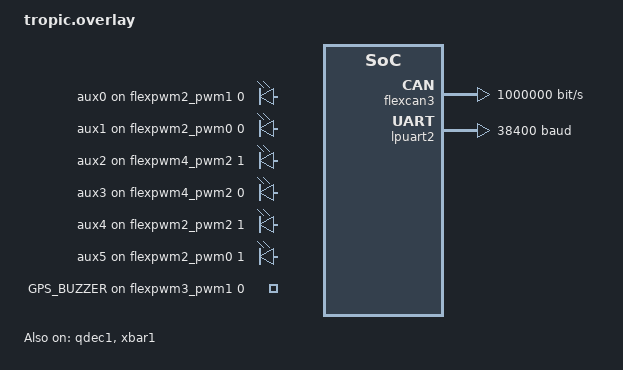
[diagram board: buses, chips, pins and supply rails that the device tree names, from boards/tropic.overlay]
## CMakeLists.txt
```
#-------------------------------------------------------------------------------
# Zephyr Cerebri Application
#
# Copyright (c) 2023 CogniPilot Foundation
# SPDX-License-Identifier: Apache-2.0

cmake_minimum_required(VERSION 3.13.1)

find_package(Zephyr REQUIRED HINTS $ENV{ZEPHYR_BASE})

project(rdd2 LANGUAGES C)

set(CYECCA_PYTHON ${CMAKE_CURRENT_SOURCE_DIR}/../../scripts/cyecca_python)

set(CYECCA_PATH $ENV{ZEPHYR_BASE}/../modules/lib/cyecca)

set(flags
  -std=c11
  -Wall
  -Wextra
  -Werror
  -Wstrict-prototypes
  -Waggregate-return
  -Wbad-function-cast
  -Wcast-align
  -Wcast-qual
  -Wfloat-equal
  -Wformat-security
  -Wlogical-op
  -Wmissing-declarations
  # ubxlib includes geographiclib which dir doesn't exist
  #-Wmissing-include-dirs
  -Wmissing-prototypes
  -Wnested-externs
  -Wpointer-arith
  -Wredundant-decls
  -Wsequence-point
  -Wshadow
  -Wstrict-prototypes
  -Wswitch
  -Wundef
  -Wunreachable-code
  -Wunused-but-set-parameter
  -Wwrite-strings
  )
string(JOIN " " flags ${flags})

set(SOURCE_FILES
  src/boot_banner.c
  src/input_mapping.c
  )

if (CONFIG_CEREBRI_RDD2_FSM)
  list(APPEND SOURCE_FILES src/fsm.c)
endif()

if (CONFIG_CEREBRI_RDD2_ESTIMATE)
  list(APPEND SOURCE_FILES src/estimate.c)
endif()

if (CONFIG_CEREBRI_RDD2_ALLOCATION)
  list(APPEND SOURCE_FILES src/allocation.c)
endif()

if (CONFIG_CEREBRI_RDD2_LIGHTING)
  list(APPEND SOURCE_FILES src/lighting.c)
endif()

if (CONFIG_CEREBRI_RDD2_COMMAND)
  list(APPEND SOURCE_FILES
    src/command.c
    src/mode_bezier.c
    src/mode_velocity.c
    src/mode_attitude.c
    src/mode_attitude_rate.c)
endif()

if (CONFIG_CEREBRI_RDD2_POSITION)
  list(APPEND SOURCE_FILES
    src/position.c)
elseif (CONFIG_CEREBRI_RDD2_LOG_LINEAR_POSITION)
  list(APPEND SOURCE_FILES
    src/log_linear_position.c)
endif()

if (CONFIG_CEREBRI_RDD2_ANGULAR_VELOCITY)
  list(APPEND SOURCE_FILES
    src/angular_velocity.c)
endif()

if (CONFIG_CEREBRI_RDD2_ATTITUDE)
  list(APPEND SOURCE_FILES
    src/attitude.c)
elseif (CONFIG_CEREBRI_RDD2_LOG_LINEAR_ATTITUDE)
  list(APPEND SOURCE_FILES
    src/log_linear_attitude.c)
endif()

set(CASADI_DEST_DIR ${CMAKE_BINARY_DIR}/app/rdd2/casadi)

set(CASADI_FILES
  ${CASADI_DEST_DIR}/rdd2.c
  ${CASADI_DEST_DIR}/rdd2_loglinear.c
  ${CASADI_DEST_DIR}/bezier.c
  )

if (CONFIG_CEREBRI_RDD2_CASADI)
  list(APPEND SOURCE_FILES ${CASADI_FILES})
endif()

add_custom_command(OUTPUT ${CASADI_DEST_DIR}/rdd2.c
  COMMAND ${CYECCA_PYTHON} ${CYECCA_PATH}/cyecca/models/rdd2.py ${CASADI_DEST_DIR}
  DEPENDS ${CYECCA_PATH}/cyecca/models/rdd2.py)

add_custom_command(OUTPUT ${CASADI_DEST_DIR}/rdd2_loglinear.c
  COMMAND ${CYECCA_PYTHON} ${CYECCA_PATH}/cyecca/models/rdd2_loglinear.py ${CASADI_DEST_DIR}
  DEPENDS ${CYECCA_PATH}/cyecca/models/rdd2_loglinear.py)

add_custom_command(OUTPUT ${CASADI_DEST_DIR}/bezier.c
  COMMAND ${CYECCA_PYTHON} ${CYECCA_PATH}/cyecca/models/bezier.py ${CASADI_DEST_DIR}
  DEPENDS ${CYECCA_PATH}/cyecca/models/bezier.py)

set_source_files_properties(
  ${SOURCE_FILES}
  PROPERTIES COMPILE_FLAGS
  "${flags}"
  )

set_source_files_properties(
  ${CASADI_FILES}
  PROPERTIES COMPILE_FLAGS
  "${flags}\
  -Wno-unused-parameter\
  -Wno-missing-prototypes\
  -Wno-missing-declarations\
  -Wno-float-equal")

target_sources(app PRIVATE ${SOURCE_FILES})

target_include_directories(app SYSTEM BEFORE PRIVATE
  ${ZEPHYR_BASE}/include
  ${CMAKE_BINARY_DIR}
  )

# vi: ts=2 sw=2 et
```

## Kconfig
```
# Copyright (c) 2023, CogniPilot Foundation
# SPDX-License-Identifier: Apache-2.0

mainmenu "CogniPilot - Cerebri - RDD2"
menu "Zephyr"
source "Kconfig.zephyr"
endmenu

menu "RDD2"
config CEREBRI_RDD2_ESTIMATE
  bool "enable estimate"
  depends on CEREBRI_RDD2_CASADI
  help
    Enable estimator

config CEREBRI_RDD2_FSM
  bool "enable finite state machine"
  help
    Enable fintie state machine

config CEREBRI_RDD2_LIGHTING
  bool "enable lighting"
  help
    Enable lighting

config CEREBRI_RDD2_COMMAND
  bool "enable command"
  depends on CEREBRI_RDD2_ALLOCATION
  help
    Enable joy

config CEREBRI_RDD2_ALLOCATION
  bool "enable mixing"
  help
    Enable mixing

config CEREBRI_RDD2_POSITION
  bool "enable position"
  depends on CEREBRI_RDD2_CASADI
  help
    Enable position

config CEREBRI_RDD2_ANGULAR_VELOCITY
  bool "enable velocity"
  depends on CEREBRI_RDD2_ALLOCATION
  depends on CEREBRI_RDD2_CASADI
  help
    Enable velocity

config CEREBRI_RDD2_ATTITUDE
  bool "enable attitude"
  depends on CEREBRI_RDD2_ANGULAR_VELOCITY
  depends on CEREBRI_RDD2_CASADI
  help
    Enable attitude

config CEREBRI_RDD2_CASADI
  bool "enable casadi code"
  help
    Enable Casadi generated code

config CEREBRI_RDD2_ESTIMATE_ODOMETRY_ETHERNET
  bool "fuse odometry from ethernet"
  depends on CEREBRI_RDD2_ESTIMATE
  help
    Enable odometry from ethernet

config CEREBRI_RDD2_BATTERY_NCELLS
  int "number of cells in battery"
  default 4
  help
    Number of cells in battery

config CEREBRI_RDD2_BATTERY_CELL_MIN_MILLIVOLT
  int "millivolts per cell before shutdown"
  default 3300
  help
    millivolts per cell before shutdown

config CEREBRI_RDD2_BATTERY_CELL_LOW_MILLIVOLT
  int "millivolts per cell before warning"
  default 3500
  help
    millivolts per cell before warning

config CEREBRI_RDD2_BATTERY_CELL_NOM_MILLIVOLT
  int "nominal millivolts per cell"
  default 3700
  help
    nominal millivolts per cell

config CEREBRI_RDD2_BATTERY_CELL_MAX_MILLIVOLT
  int "max millivolts per cell before warning"
  default 4300
  help
    max millivolts per cell before warning

config CEREBRI_RDD2_GAIN_HEADING
  int "heading gain"
  default 100
  help
    Steering = Heading error * GAIN_/ 1000

config CEREBRI_RDD2_GAIN_CROSS_TRACK
  int "cross track gain"
  default 100
  help
    Steering = Cross track error * GAIN / 1000

config CEREBRI_RDD2_GAIN_ALONG_TRACK
  int "along track gain"
  default 100
  help
    Steering = Along track error * GAIN / 1000

config CEREBRI_RDD2_MAX_VELOCITY_MM_S
  int "max velocity, mm/s"
  default 1000
  help
    Max velocity in mm/s

config CEREBRI_RDD2_MOTOR_L_MM
  int "moment arm for props"
  default 174
  help
    moment arm for props

config CEREBRI_RDD2_MOTOR_CM
  int "motor moment coefficient * 1e6"
  default 16000
  help
    moment arm for props

config CEREBRI_RDD2_MOTOR_CT
  int "motor thrust coefficient * 1e9"
  default 8549
  help
    moment thrust coefficient * 1e9

config CEREBRI_RDD2_POS_KP
  int "pos kp * 1e6"
  default 2000000
  help
    pos kp * 1e6

config CEREBRI_RDD2_VEL_KP
  int "vel kp * 1e6"
  default 2000000
  help
    vel kp * 1e6

config CEREBRI_RDD2_X_KI
  int "x ki * 1e6"
  default 100000
  help
    x ki * 1e6

config CEREBRI_RDD2_Y_KI
  int "y ki * 1e6"
  default 100000
  help
    y ki * 1e6

config CEREBRI_RDD2_Z_KI
  int "z ki * 1e6"
  default 100000
  help
    z ki * 1e6

config CEREBRI_RDD2_X_IMAX
  int "x imax * 1e6"
  default 250000
  help
    x ki * 1e6

config CEREBRI_RDD2_Y_IMAX
  int "y imax * 1e6"
  default 250000
  help
    y ki * 1e6

config CEREBRI_RDD2_Z_IMAX
  int "z imax * 1e6"
  default 250000
  help
    z imax * 1e6

config CEREBRI_RDD2_ROLL_KP
  int "roll kp * 1e6"
  default 2000000
  help
    roll kp * 1e6

config CEREBRI_RDD2_PITCH_KP
  int "pitch kp * 1e6"
  default 2000000
  help
    pitch kp * 1e6

config CEREBRI_RDD2_YAW_KP
  int "yaw kp * 1e6"
  default 1000000
  help
    yaw kp * 1e6

config CEREBRI_RDD2_ROLLRATE_KP
  int "rollrate kp * 1e6"
  default 300000
  help
    rollrate kp * 1e6

config CEREBRI_RDD2_PITCHRATE_KP
  int "pitchrate kp * 1e6"
  default 300000
  help
    pitchrate kp * 1e6

config CEREBRI_RDD2_YAWRATE_KP
  int "yawrate kp * 1e6"
  default 300000
  help
    yawrate kp * 1e6

config CEREBRI_RDD2_ROLLRATE_KI
  int "rollrate ki * 1e6"
  default 50000
  help
    rollrate ki * 1e6

config CEREBRI_RDD2_PITCHRATE_KI
  int "pitchrate ki * 1e6"
  default 50000
  help
    pitchrate ki * 1e6

config CEREBRI_RDD2_YAWRATE_KI
  int "yawrate ki * 1e6"
  default 50000
  help
    yawrate ki * 1e6

config CEREBRI_RDD2_ROLLRATE_KD
  int "rollrate kd * 1e6"
  default 0
  help
    rollrate kd * 1e6

config CEREBRI_RDD2_PITCHRATE_KD
  int "pitchrate kd * 1e6"
  default 0
  help
    pitchrate kd * 1e6

config CEREBRI_RDD2_YAWRATE_KD
  int "yawrate kd * 1e6"
  default 0
  help
    yawrate kd * 1e6

config CEREBRI_RDD2_ATTITUDE_RATE_FCUT
  int "fcut [hz] * 1e3"
  default 20000
  help
    attitude_rate cut frequency * 1e3

config CEREBRI_RDD2_ROLLRATE_IMAX
  int "rollrate imax * 1e6"
  default 20000
  help
    rollrate imax * 1e6

config CEREBRI_RDD2_PITCHRATE_IMAX
  int "pitchate imax * 1e6"
  default 20000
  help
    pitchrate imax * 1e6

config CEREBRI_RDD2_YAWRATE_IMAX
  int "yawrate imax * 1e6"
  default 20000
  help
    yawrate imax * 1e6

config CEREBRI_RDD2_THRUST_TRIM
  int "thrust_trim * 1e3 [N}"
  default 21952
  help
    thrust trim * 1e3 [N]

config CEREBRI_RDD2_THRUST_DELTA
  int "thrust delta* 1e3 [N}"
  default 19756
  help
    thrust delta imax * 1e3 [N}

config CEREBRI_RDD2_LOG_LINEAR_ATTITUDE
  bool "enable loglinear attitude control"
  help
    Enable loglinear atitude control

config CEREBRI_RDD2_LOG_LINEAR_POSITION
  bool "enable loglinear position control"
  help
    Enable loglinear atitude position

config CEREBRI_RDD2_ATTITUDE_EST_ACCEL_GAIN
  int "attitude rate accel gain"
  default 40
  help
    attitude rate accel gain

config CEREBRI_RDD2_ATTITUDE_EST_MAG_GAIN
  int "attitude rate mag gain"
  default 40
  help
    attitude rate mag gain


module = CEREBRI_RDD2
module-str = cerebri_rdd2
source "subsys/logging/Kconfig.template.log_config"
endmenu
```

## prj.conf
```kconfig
CONFIG_CEREBRI_APP_NAME="rdd2"

CONFIG_SYS_CLOCK_TICKS_PER_SEC=10000
CONFIG_TICKLESS_KERNEL=n

CONFIG_CEREBRI_DREAM_SIL=n

CONFIG_CEREBRI_RDD2_ESTIMATE=y
CONFIG_CEREBRI_RDD2_FSM=y
CONFIG_CEREBRI_RDD2_MANUAL=y
CONFIG_CEREBRI_RDD2_ALLOCATION=y
CONFIG_CEREBRI_RDD2_POSITION=y
CONFIG_CEREBRI_RDD2_ANGULAR_VELOCITY=y
CONFIG_CEREBRI_RDD2_ATTITUDE=y
CONFIG_CEREBRI_RDD2_LIGHTING=n
CONFIG_CEREBRI_RDD2_CASADI=y
CONFIG_CEREBRI_ACTUATE_LED_ARRAY_COUNT=36

CONFIG_CEREBRI_ACTUATE_PWM=y
CONFIG_CEREBRI_ACTUATE_LED_ARRAY=y
CONFIG_CEREBRI_ACTUATE_SOUND=n

CONFIG_NET_BUF_RX_COUNT=24
CONFIG_NET_PKT_RX_COUNT=24

CONFIG_CEREBRI_SENSE_POWER=y
CONFIG_CEREBRI_SENSE_SAFETY=y
CONFIG_CEREBRI_SENSE_IMU=y
CONFIG_CEREBRI_SENSE_MAG=y
CONFIG_CEREBRI_SENSE_UBX_GNSS=y

CONFIG_CEREBRI_SYNAPSE_ETH_RX=y
CONFIG_CEREBRI_SYNAPSE_ETH_TX=y
CONFIG_CEREBRI_SYNAPSE_ETHERNET=n

CONFIG_CEREBRI_SYNAPSE_TOPIC=y
CONFIG_CEREBRI_CORE_COMMON=y
CONFIG_CEREBRI_CORE_COMMON_BOOT_BANNER=n
CONFIG_ZROS=y

CONFIG_SHELL_STACK_SIZE=10240
CONFIG_INIT_STACKS=y

CONFIG_LOG=y
CONFIG_LOG_CMDS=y
CONFIG_LOG_MODE_DEFERRED=n

CONFIG_ASSERT=y
CONFIG_TEST=y
CONFIG_CBPRINTF_FP_SUPPORT=y

# modules
CONFIG_SYNAPSE_PROTOBUF=y
CONFIG_SYNAPSE_TINYFRAME=y
CONFIG_NANOPB=y
CONFIG_UBXLIB=y

# Debug
CONFIG_CEREBRI_RDD2_LOG_LEVEL_DBG=n
CONFIG_CEREBRI_SENSE_IMU_LOG_LEVEL_DBG=n
CONFIG_CEREBRI_SENSE_SAFETY_LOG_LEVEL_DBG=n

# General config
CONFIG_POSIX_API=y
CONFIG_NEWLIB_LIBC=y
CONFIG_MAIN_THREAD_PRIORITY=5
CONFIG_SYSTEM_WORKQUEUE_PRIORITY=-2
CONFIG_SYS_CLOCK_TICKS_PER_SEC=10000
# Networking config
CONFIG_NET_SHELL=y
CONFIG_NETWORKING=y
CONFIG_NET_IPV4=y
CONFIG_NET_IPV6=n
CONFIG_NET_TCP=y
CONFIG_NET_SOCKETS=y

# Network address config
CONFIG_NET_CONFIG_SETTINGS=y
CONFIG_NET_STATISTICS=y
CONFIG_NET_MGMT_EVENT_INFO=y
CONFIG_NET_MGMT_EVENT_MONITOR=y
CONFIG_NET_BUF_POOL_USAGE=y
CONFIG_NET_DEBUG_NET_PKT_ALLOC=y
CONFIG_NET_CONFIG_NEED_IPV4=y
CONFIG_NET_CONFIG_MY_IPV4_ADDR="192.0.2.1"
CONFIG_NET_CONFIG_PEER_IPV4_ADDR="192.0.2.2"

# STATS
CONFIG_THREAD_RUNTIME_STATS=y
CONFIG_SCHED_THREAD_USAGE=y
CONFIG_SCHED_THREAD_USAGE_ANALYSIS=y
CONFIG_SCHED_THREAD_USAGE_ALL=y
CONFIG_SCHED_THREAD_USAGE_AUTO_ENABLE=y
```

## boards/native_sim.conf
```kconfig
# gains
CONFIG_CEREBRI_RDD2_THRUST_TRIM=21952
CONFIG_CEREBRI_RDD2_THRUST_DELTA=19756

CONFIG_CEREBRI_RDD2_ESTIMATE_ODOMETRY_ETHERNET=y

CONFIG_CEREBRI_RDD2_ROLL_KP=2000
CONFIG_CEREBRI_RDD2_PITCH_KP=2000
CONFIG_CEREBRI_RDD2_YAW_KP=1000

CONFIG_CEREBRI_RDD2_ROLLRATE_KP=300
CONFIG_CEREBRI_RDD2_PITCHRATE_KP=300
CONFIG_CEREBRI_RDD2_YAWRATE_KP=300

CONFIG_CEREBRI_RDD2_ROLLRATE_KI=50
CONFIG_CEREBRI_RDD2_PITCHRATE_KI=50
CONFIG_CEREBRI_RDD2_YAWRATE_KI=50

CONFIG_CEREBRI_RDD2_ROLLRATE_IMAX=20
CONFIG_CEREBRI_RDD2_PITCHRATE_IMAX=20
CONFIG_CEREBRI_RDD2_YAWRATE_IMAX=20

# config
CONFIG_ETH_NATIVE_POSIX=y
CONFIG_TEST_RANDOM_GENERATOR=y
CONFIG_SYS_CLOCK_TICKS_PER_SEC=500
CONFIG_NATIVE_POSIX_SLOWDOWN_TO_REAL_TIME=n

CONFIG_NO_OPTIMIZATIONS=y
CONFIG_UART_NATIVE_POSIX=y

CONFIG_REBOOT=n
CONFIG_LOG_BACKEND_NATIVE_POSIX=y
CONFIG_LOG_MODE_DEFERRED=n
CONFIG_LOG_MODE_IMMEDIATE=y

CONFIG_NATIVE_UART_0_ON_OWN_PTY=y
CONFIG_NATIVE_UART_0_ON_STDINOUT=n
CONFIG_NATIVE_UART_AUTOATTACH_DEFAULT_CMD="xterm -fa Monospcae -fs 12 -fg grey -bg black -T cerebri-shell -e screen %s &"

CONFIG_CEREBRI_BOOT_BANNER=n
CONFIG_CEREBRI_DREAM_SIL=y
CONFIG_UBXLIB=n

CONFIG_TEST=y
CONFIG_ASAN=y
CONFIG_UBSAN=n
CONFIG_ASSERT=y
CONFIG_ASSERT_LEVEL=2
CONFIG_ASSERT_VERBOSE=y

CONFIG_CEREBRI_ACTUATE_LED_ARRAY=n
CONFIG_CEREBRI_ACTUATE_SOUND=n
CONFIG_CEREBRI_ACTUATE_PWM=n
CONFIG_CEREBRI_SENSE_POWER=n
CONFIG_CEREBRI_SENSE_SBUS=n
CONFIG_CEREBRI_SENSE_IMU=n
CONFIG_CEREBRI_SENSE_BARO=n
CONFIG_CEREBRI_SENSE_MAG=n
CONFIG_CEREBRI_SENSE_UBX_GNSS=n
CONFIG_CEREBRI_SENSE_SAFETY=n
CONFIG_CEREBRI_SENSE_WHEEL_ODOMETRY=n

CONFIG_CEREBRI_DREAM_SIL_LOG_LEVEL_DBG=n

CONFIG_NEWLIB_LIBC=n
CONFIG_EXTERNAL_LIBC=y
CONFIG_POSIX_API=n
```

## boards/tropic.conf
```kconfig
CONFIG_ENTROPY_GENERATOR=y
CONFIG_TEST_RANDOM_GENERATOR=y

CONFIG_CEREBRI_ACTUATE_PWM_NUMBER=2
CONFIG_LED_STRIP=y
CONFIG_APA102_STRIP=y

CONFIG_ETH_NXP_S32_RX_RING_LEN=16

# steering
CONFIG_CEREBRI_ACTUATE_PWM_USE_POS_0=y
CONFIG_CEREBRI_ACTUATE_PWM_INDEX_0=0
CONFIG_CEREBRI_ACTUATE_PWM_LINEAR_0=y
CONFIG_CEREBRI_ACTUATE_PWM_LINEAR_M_0=800
CONFIG_CEREBRI_ACTUATE_PWM_LINEAR_M_DIV_0=1
CONFIG_CEREBRI_ACTUATE_PWM_LINEAR_B_0=1500
CONFIG_CEREBRI_ACTUATE_PWM_LINEAR_B_DIV_0=1

# throttle
CONFIG_CEREBRI_ACTUATE_PWM_INDEX_1=0
CONFIG_CEREBRI_ACTUATE_PWM_USE_NANO_SECONDS_1=y
CONFIG_CEREBRI_ACTUATE_PWM_PULSE_MIN_1=0
CONFIG_CEREBRI_ACTUATE_PWM_PULSE_MAX_1=500000
CONFIG_CEREBRI_ACTUATE_PWM_PULSE_CENTER_1=25000
CONFIG_CEREBRI_ACTUATE_PWM_LINEAR_1=y
CONFIG_CEREBRI_ACTUATE_PWM_LINEAR_M_1=717
CONFIG_CEREBRI_ACTUATE_PWM_LINEAR_M_DIV_1=1
CONFIG_CEREBRI_ACTUATE_PWM_LINEAR_B_1=25000
CONFIG_CEREBRI_ACTUATE_PWM_LINEAR_B_DIV_1=1

CONFIG_PWM=y

CONFIG_CAN=y
CONFIG_CAN_MAX_FILTER=5
CONFIG_CAN_SHELL=y

CONFIG_NET_DRIVERS=y
CONFIG_NET_CANBUS=y
CONFIG_ETH_DRIVER=y
CONFIG_NETWORKING=y
CONFIG_NET_L2_ETHERNET=y

CONFIG_NET_IPV6=n
CONFIG_NET_IPV4=y
CONFIG_NET_DHCPV4=y

CONFIG_NET_SOCKETS_CAN=y
CONFIG_NET_DEFAULT_IF_CANBUS_RAW=y

CONFIG_CAN_LOG_LEVEL_DBG=n
CONFIG_CAN_FD_MODE=y
CONFIG_SHELL_ARGC_MAX=72
CONFIG_I2C=y
CONFIG_SENSOR=y
CONFIG_HEAP_MEM_POOL_SIZE=16384

# NEEDS FIXING
CONFIG_CEREBRI_SENSE_POWER=n
CONFIG_CEREBRI_ACTUATE_LED_ARRAY=n

# Debugging
CONFIG_DEBUG_THREAD_INFO=y

# Logging
#CONFIG_LOG_BACKEND_NET=n
#CONFIG_LOG_BACKEND_NET_SERVER="192.0.2.2"
```

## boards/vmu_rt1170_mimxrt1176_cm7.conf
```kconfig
CONFIG_SPEED_OPTIMIZATIONS=y
CONFIG_SIZE_OPTIMIZATIONS=n

CONFIG_TEST=y
CONFIG_UBSAN=n
CONFIG_ASSERT=y
CONFIG_ASSERT_LEVEL=2
CONFIG_ASSERT_VERBOSE=y

CONFIG_CMSIS_DSP=y
CONFIG_CMSIS_DSP_FILTERING=y


CONFIG_SYSTEM_WORKQUEUE_STACK_SIZE=4096

CONFIG_STACK_CANARIES=y

CONFIG_ISR_STACK_SIZE=8192

CONFIG_LOG_MODE_DEFERRED=y
CONFIG_LOG_MODE_IMMEDIATE=n

CONFIG_FPU=y

# gains
CONFIG_CEREBRI_RDD2_THRUST_TRIM=10976
CONFIG_CEREBRI_RDD2_THRUST_DELTA=10976

CONFIG_CEREBRI_RDD2_POS_KP=2000000
CONFIG_CEREBRI_RDD2_VEL_KP=4000000

CONFIG_CEREBRI_RDD2_X_KI=100000
CONFIG_CEREBRI_RDD2_Y_KI=100000
CONFIG_CEREBRI_RDD2_Z_KI=100000

CONFIG_CEREBRI_RDD2_X_IMAX=250000
CONFIG_CEREBRI_RDD2_Y_IMAX=250000
CONFIG_CEREBRI_RDD2_Z_IMAX=500000

CONFIG_CEREBRI_RDD2_ROLL_KP=5000000
CONFIG_CEREBRI_RDD2_PITCH_KP=5000000
CONFIG_CEREBRI_RDD2_YAW_KP=2000000

CONFIG_CEREBRI_RDD2_ROLLRATE_KP=1800000
CONFIG_CEREBRI_RDD2_PITCHRATE_KP=1800000
CONFIG_CEREBRI_RDD2_YAWRATE_KP=310000

CONFIG_CEREBRI_RDD2_ROLLRATE_KI=200000
CONFIG_CEREBRI_RDD2_PITCHRATE_KI=200000
CONFIG_CEREBRI_RDD2_YAWRATE_KI=200000

CONFIG_CEREBRI_RDD2_ROLLRATE_IMAX=20000000
CONFIG_CEREBRI_RDD2_PITCHRATE_IMAX=20000000
CONFIG_CEREBRI_RDD2_YAWRATE_IMAX=20000000

CONFIG_CEREBRI_RDD2_ROLLRATE_KD=12000
CONFIG_CEREBRI_RDD2_PITCHRATE_KD=12000
CONFIG_CEREBRI_RDD2_YAWRATE_KD=0
CONFIG_CEREBRI_RDD2_ATTITUDE_RATE_FCUT=15000

CONFIG_CEREBRI_RDD2_ATTITUDE_EST_ACCEL_GAIN=140
CONFIG_CEREBRI_RDD2_ATTITUDE_EST_MAG_GAIN=800

# RDD2 APPS
CONFIG_CEREBRI_RDD2_ALLOCATION=y
CONFIG_CEREBRI_RDD2_ANGULAR_VELOCITY=y
CONFIG_CEREBRI_RDD2_ATTITUDE=y
CONFIG_CEREBRI_RDD2_COMMAND=y
CONFIG_CEREBRI_RDD2_ESTIMATE=y
CONFIG_CEREBRI_RDD2_ESTIMATE_ODOMETRY_ETHERNET=n
CONFIG_CEREBRI_RDD2_FSM=y
CONFIG_CEREBRI_RDD2_LIGHTING=n
CONFIG_CEREBRI_RDD2_POSITION=y
CONFIG_CEREBRI_RDD2_ATTITUDE=y
CONFIG_CEREBRI_RDD2_LOG_LINEAR_POSITION=n
CONFIG_CEREBRI_RDD2_LOG_LINEAR_ATTITUDE=n

# disabled for first live flight
CONFIG_CEREBRI_ACTUATE_PWM_SHELL=n
CONFIG_CEREBRI_ACTUATE_SOUND=y

# config
CONFIG_INPUT=y
CONFIG_INPUT_SBUS_THREAD_STACK_SIZE=8192
CONFIG_INPUT_EVENT_DUMP=n
CONFIG_INPUT_SHELL=n
CONFIG_INPUT_MODE_SYNCHRONOUS=n
CONFIG_INPUT_SBUS_REPORT_FILTER=0
CONFIG_INPUT_THREAD_STACK_SIZE=2048

CONFIG_CEREBRI_SYNAPSE_LOG_SDCARD=y
CONFIG_CEREBRI_SENSE_IMU=y
CONFIG_CEREBRI_SENSE_ACCEL=n
CONFIG_CEREBRI_SENSE_ICM42688=n

CONFIG_CEREBRI_SENSE_SBUS=y
CONFIG_CEREBRI_SENSE_MAG=y
CONFIG_CEREBRI_SENSE_SAFETY=y
CONFIG_CEREBRI_SENSE_UBX_GNSS=y

CONFIG_CEREBRI_SYNAPSE_ETH_RX=y
CONFIG_CEREBRI_SYNAPSE_ETH_TX=y
CONFIG_CEREBRI_ACTUATE_LED_ARRAY=y
CONFIG_CEREBRI_SENSE_POWER=y

CONFIG_PWM=y

CONFIG_LED_STRIP=y
CONFIG_APA102_STRIP=y
CONFIG_CEREBRI_SENSE_MAG_COUNT=2

CONFIG_CAN=y
CONFIG_CAN_MAX_FILTER=5
CONFIG_CAN_SHELL=y

CONFIG_NET_DRIVERS=y
CONFIG_NET_CANBUS=y

CONFIG_NET_SOCKETS_CAN=y
CONFIG_NET_DEFAULT_IF_CANBUS_RAW=y

CONFIG_CAN_LOG_LEVEL_DBG=n
CONFIG_CAN_FD_MODE=y
CONFIG_SHELL_ARGC_MAX=72
CONFIG_I2C=y
CONFIG_SENSOR=y
CONFIG_SENSOR_SHELL=y
CONFIG_HEAP_MEM_POOL_SIZE=16384

# Debugging
CONFIG_DEBUG_THREAD_INFO=y

# Logging
#CONFIG_LOG_BACKEND_NET=n
#CONFIG_LOG_BACKEND_NET_SERVER="192.0.2.2"
```

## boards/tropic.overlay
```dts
/* SPDX-License-Identifier: Apache-2.0 */
/* Copyright 2024 CogniPilot Foundation */

/ {
	pwm_shell: pwm_shell {
		compatible = "pwm-leds";
		aux0: aux0 {
			pwms = <&flexpwm2_pwm1 0 PWM_HZ(50) PWM_POLARITY_NORMAL>;
		};
		aux1: aux1 {
			pwms = <&flexpwm2_pwm0 0 PWM_HZ(20000) PWM_POLARITY_NORMAL>;
		};
		aux2: aux2 {
			pwms = <&flexpwm4_pwm2 1 PWM_HZ(20000) PWM_POLARITY_NORMAL>;
		};
		aux3: aux3 {
			pwms = <&flexpwm4_pwm2 0 PWM_HZ(50) PWM_POLARITY_NORMAL>;
		};
		aux4: aux4 {
			pwms = <&flexpwm2_pwm2 1 PWM_HZ(50) PWM_POLARITY_NORMAL>;
		};
		aux5: aux5 {
			pwms = <&flexpwm2_pwm0 1 PWM_HZ(50) PWM_POLARITY_NORMAL>;
		};
		
		gps_buzzer: gps_buzzer {
			label = "GPS_BUZZER";
			pwms = <&flexpwm3_pwm1 0 PWM_KHZ(1) PWM_POLARITY_NORMAL>;
		};
	};

	chosen {
		zephyr,canbus = &flexcan3;
	};

	aliases {
		can0 = &flexcan3;
		/* safety button */
		safety-button = &arming_button;
		/* accelerometers */
		accel0 = &icm42688;
		accel1 = &bmi08x_accel;
		/* gyroscopes */
		gyro0 = &icm42688;
		gyro1 = &bmi08x_gyro;
		/* magnetometers */
		mag0 = &ist8310;
		mag1 = &bmm150;
		/* barometric altimeters */
		baro0 = &bmp388;
		/* wheel odometry */
		wheel-odometry0 = &qdec1;
		buzzer = &gps_buzzer;
	};
};


&flexpwm2_pwm1 {
	nxp,prescaler = <64>;
};

&flexpwm2_pwm0 {
	nxp,prescaler = <64>;
};

&flexpwm4_pwm2 {
	nxp,prescaler = <64>;
};

&flexpwm2_pwm2 {
	nxp,prescaler = <64>;
};


&flexcan3 {
	status = "okay";
	bus-speed = <1000000>;
	bus-speed-data = <4000000>;
};

/* GNSS 1 */
uart0: &lpuart2 {
		status = "okay";
		current-speed = <38400>;
};


&pinctrl {

	pinmux_qdec1: pinmux_qdec1 {
		group0 {
			pinmux = <&iomuxc_gpio_b1_00_xbar1_xbar_in14>,
				<&iomuxc_gpio_b1_01_xbar1_xbar_in15>;
			drive-strength = "r0-5";
			slew-rate = "slow";
			nxp,speed = "100-mhz";
		};
	};
};

&qdec1 {
	status = "okay";
	pinctrl-0 = <&pinmux_qdec1>;
	pinctrl-names = "default";
	counts-per-revolution = <685>;
	filter-count = <0>;
	xbar = < &xbar1 >;
};

&xbar1 {
	status = "okay";
	xbar-maps = < (14|0x100) (109|0x100) >, /* kXBARA1_InputIomuxXbarIn14 <-> kXBARA1_OutputDec1Phasea */
		    < (15|0x100) (108|0x100) >; /* kXBARA1_InputIomuxXbarIn15 <-> kXBARA1_OutputDec1Phaseb */
};
```

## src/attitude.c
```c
/*
 * Copyright CogniPilot Foundation 2023
 * SPDX-License-Identifier: Apache-2.0
 */

#include "casadi/gen/rdd2_loglinear.h"

#include <math.h>

#include <zephyr/logging/log.h>
#include <zephyr/shell/shell.h>

#include <zros/private/zros_node_struct.h>
#include <zros/private/zros_pub_struct.h>
#include <zros/private/zros_sub_struct.h>
#include <zros/zros_node.h>
#include <zros/zros_pub.h>
#include <zros/zros_sub.h>

#include <cerebri/core/casadi.h>

#include <synapse_topic_list.h>

#define MY_STACK_SIZE 3072
#define MY_PRIORITY 4

LOG_MODULE_REGISTER(rdd2_attitude, CONFIG_CEREBRI_RDD2_LOG_LEVEL);

static K_THREAD_STACK_DEFINE(g_my_stack_area, MY_STACK_SIZE);

struct context {
    struct zros_node node;
    synapse_msgs_Status status;
    synapse_msgs_Odometry estimator_odometry;
    synapse_msgs_Quaternion attitude_sp;
    synapse_msgs_Vector3 position_sp, velocity_sp, angular_velocity_sp, angular_velocity_ff;
    struct zros_sub sub_status, sub_position_sp, sub_velocity_sp, sub_attitude_sp, sub_estimator_odometry, sub_angular_velocity_ff;
    struct zros_pub pub_angular_velocity_sp;
    atomic_t running;
    size_t stack_size;
    k_thread_stack_t* stack_area;
    struct k_thread thread_data;
};

static struct context g_ctx = {
    .node = {},
    .status = synapse_msgs_Status_init_default,
    .attitude_sp = synapse_msgs_Quaternion_init_default,
    .position_sp = synapse_msgs_Vector3_init_default,
    .velocity_sp = synapse_msgs_Vector3_init_default,
    .angular_velocity_sp = synapse_msgs_Vector3_init_default,
    .angular_velocity_ff = synapse_msgs_Vector3_init_default,
    .estimator_odometry = synapse_msgs_Odometry_init_default,
    .sub_status = {},
    .sub_position_sp = {},
    .sub_velocity_sp = {},
    .sub_attitude_sp = {},
    .sub_estimator_odometry = {},
    .pub_angular_velocity_sp = {},
    .running = ATOMIC_INIT(0),
    .stack_size = MY_STACK_SIZE,
    .stack_area = g_my_stack_area,
    .thread_data = {},
};

static void rdd2_attitude_init(struct context* ctx)
{
    LOG_INF("init");
    zros_node_init(&ctx->node, "rdd2_attiude");
    zros_sub_init(&ctx->sub_status, &ctx->node, &topic_status, &ctx->status, 10);
    zros_sub_init(&ctx->sub_position_sp, &ctx->node,
        &topic_position_sp, &ctx->position_sp, 50);
    zros_sub_init(&ctx->sub_velocity_sp, &ctx->node,
        &topic_velocity_sp, &ctx->velocity_sp, 50);
    zros_sub_init(&ctx->sub_attitude_sp, &ctx->node,
        &topic_attitude_sp, &ctx->attitude_sp, 50);
    zros_sub_init(&ctx->sub_estimator_odometry, &ctx->node,
        &topic_estimator_odometry, &ctx->estimator_odometry, 50);
    zros_sub_init(&ctx->sub_angular_velocity_ff, &ctx->node,
        &topic_angular_velocity_ff, &ctx->angular_velocity_ff, 50);
    zros_pub_init(&ctx->pub_angular_velocity_sp, &ctx->node, &topic_angular_velocity_sp, &ctx->angular_velocity_sp);
    atomic_set(&ctx->running, 1);
}

static void rdd2_attitude_fini(struct context* ctx)
{
    LOG_INF("fini");
    atomic_set(&ctx->running, 0);
    zros_sub_fini(&ctx->sub_status);
    zros_sub_fini(&ctx->sub_position_sp);
    zros_sub_fini(&ctx->sub_velocity_sp);
    zros_sub_fini(&ctx->sub_attitude_sp);
    zros_sub_fini(&ctx->sub_estimator_odometry);
    zros_sub_fini(&ctx->sub_angular_velocity_ff);
    zros_pub_fini(&ctx->pub_angular_velocity_sp);
    zros_node_fini(&ctx->node);
}

static void rdd2_attitude_run(void* p0, void* p1, void* p2)
{
    struct context* ctx = p0;
    ARG_UNUSED(p1);
    ARG_UNUSED(p2);

    rdd2_attitude_init(ctx);

    struct k_poll_event events[] = {
        *zros_sub_get_event(&ctx->sub_estimator_odometry),
    };

    while (atomic_get(&ctx->running)) {
        int rc = 0;
        rc = k_poll(events, ARRAY_SIZE(events), K_MSEC(1000));
        if (rc != 0) {
            LOG_DBG("not receiving estimator_odometry");
        }

        if (zros_sub_update_available(&ctx->sub_status)) {
            zros_sub_update(&ctx->sub_status);
        }

        if (zros_sub_update_available(&ctx->sub_estimator_odometry)) {
            zros_sub_update(&ctx->sub_estimator_odometry);
        }

        if (zros_sub_update_available(&ctx->sub_position_sp)) {
            zros_sub_update(&ctx->sub_position_sp);
        }

        if (zros_sub_update_available(&ctx->sub_velocity_sp)) {
            zros_sub_update(&ctx->sub_velocity_sp);
        }

        if (zros_sub_update_available(&ctx->sub_attitude_sp)) {
            zros_sub_update(&ctx->sub_attitude_sp);
        }

        if (zros_sub_update_available(&ctx->sub_angular_velocity_ff)) {
            zros_sub_update(&ctx->sub_angular_velocity_ff);
        }

        if (ctx->status.mode != synapse_msgs_Status_Mode_MODE_ATTITUDE_RATE) {
            double zeta[9], q_wb[4], q_r[4];
            q_wb[0] = ctx->estimator_odometry.pose.pose.orientation.w;
            q_wb[1] = ctx->estimator_odometry.pose.pose.orientation.x;
            q_wb[2] = ctx->estimator_odometry.pose.pose.orientation.y;
            q_wb[3] = ctx->estimator_odometry.pose.pose.orientation.z;
            q_r[0] = ctx->attitude_sp.w;
            q_r[1] = ctx->attitude_sp.x;
            q_r[2] = ctx->attitude_sp.y;
            q_r[3] = ctx->attitude_sp.z;
            {
                /* se23_error:(p_w[3],v_b[3],q_wb[4],p_rw[3],v_rw[3],q_r[4])->(zeta[9])*/
                CASADI_FUNC_ARGS(se23_error);
                double p_w[3], v_b[3];
                double p_rw[3], v_rw[3];

                p_w[0] = ctx->estimator_odometry.pose.pose.position.x;
                p_w[1] = ctx->estimator_odometry.pose.pose.position.y;
                p_w[2] = ctx->estimator_odometry.pose.pose.position.z;
                v_b[0] = ctx->estimator_odometry.twist.twist.linear.x;
                v_b[1] = ctx->estimator_odometry.twist.twist.linear.y;
                v_b[2] = ctx->estimator_odometry.twist.twist.linear.z;

                p_rw[0] = ctx->position_sp.x;
                p_rw[1] = ctx->position_sp.y;
                p_rw[2] = ctx->position_sp.z;
                v_rw[0] = ctx->velocity_sp.x;
                v_rw[1] = ctx->velocity_sp.y;
                v_rw[2] = ctx->velocity_sp.z;

                args[0] = p_w;
                args[1] = v_b;
                args[2] = q_wb;
                args[3] = p_rw;
                args[4] = v_rw;
                args[5] = q_r;
                res[0] = zeta;
                CASADI_FUNC_CALL(se23_error);
            }
            double omega[3];
            {
                /* attitude_control:(kp[3],q[4],q_r[4])->(omega[3]) */
                const double kp[3] = {
                    CONFIG_CEREBRI_RDD2_ROLL_KP * 1e-3,
                    CONFIG_CEREBRI_RDD2_PITCH_KP * 1e-3,
                    CONFIG_CEREBRI_RDD2_YAW_KP * 1e-3,
                };

                CASADI_FUNC_ARGS(so3_attitude_control);
                args[0] = kp;
                args[1] = q_wb;
                args[2] = q_r;
                res[0] = omega;
                CASADI_FUNC_CALL(so3_attitude_control);
            }

            // publish
            bool data_ok = true;
            for (int i = 0; i < 3; i++) {
                if (!isfinite(omega[i])) {
                    LOG_ERR("omega[0] not finite: %10.4f", omega[i]);
                    data_ok = false;
                }
            }

            if (data_ok) {
                ctx->angular_velocity_sp.x = omega[0] + ctx->angular_velocity_ff.x;
                ctx->angular_velocity_sp.y = omega[1] + ctx->angular_velocity_ff.y;
                ctx->angular_velocity_sp.z = omega[2] + ctx->angular_velocity_ff.z;
                zros_pub_update(&ctx->pub_angular_velocity_sp);
            }
        }
    }

    rdd2_attitude_fini(ctx);
}

static int start(struct context* ctx)
{
    k_tid_t tid = k_thread_create(&ctx->thread_data, ctx->stack_area,
        ctx->stack_size,
        rdd2_attitude_run,
        ctx, NULL, NULL,
        MY_PRIORITY, 0, K_FOREVER);
    k_thread_name_set(tid, "rdd2_attitude");
    k_thread_start(tid);
    return 0;
}

static int rdd2_attitude_cmd_handler(const struct shell* sh,
    size_t argc, char** argv, void* data)
{
    struct context* ctx = data;
    if (argc != 1) {
        LOG_ERR("must have one argument");
        return -1;
    }

    if (strcmp(argv[0], "start") == 0) {
        if (atomic_get(&ctx->running)) {
            shell_print(sh, "already running");
        } else {
            start(ctx);
        }
    } else if (strcmp(argv[0], "stop") == 0) {
        if (atomic_get(&ctx->running)) {
            atomic_set(&ctx->running, 0);
        } else {
            shell_print(sh, "not running");
        }
    } else if (strcmp(argv[0], "status") == 0) {
        shell_print(sh, "running: %d", (int)atomic_get(&ctx->running));
    }
    return 0;
}

SHELL_SUBCMD_DICT_SET_CREATE(sub_rdd2_attitude, rdd2_attitude_cmd_handler,
    (start, &g_ctx, "start"),
    (stop, &g_ctx, "stop"),
    (status, &g_ctx, "status"));

SHELL_CMD_REGISTER(rdd2_attitude, &sub_rdd2_attitude, "rdd2 attitude commands", NULL);

static int rdd2_attitude_sys_init(void)
{
    return start(&g_ctx);
};

SYS_INIT(rdd2_attitude_sys_init, APPLICATION, 1);

// vi: ts=4 sw=4 et
```

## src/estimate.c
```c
/*
 * Copyright CogniPilot Foundation 2023
 * SPDX-License-Identifier: Apache-2.0
 */

#include <assert.h>
#include <math.h>
#include <stdio.h>
#include <time.h>

#include <zephyr/kernel.h>
#include <zephyr/logging/log.h>
#include <zephyr/shell/shell.h>

#include <zros/private/zros_node_struct.h>
#include <zros/private/zros_pub_struct.h>
#include <zros/private/zros_sub_struct.h>
#include <zros/zros_node.h>
#include <zros/zros_pub.h>
#include <zros/zros_sub.h>

#include <synapse_topic_list.h>

#include <cerebri/core/casadi.h>

#include "casadi/gen/rdd2.h"

#define MY_STACK_SIZE 4096
#define MY_PRIORITY 4

#ifndef M_PI
#define M_PI 3.14159265358979323846
#endif

LOG_MODULE_REGISTER(rdd2_estimate, CONFIG_CEREBRI_RDD2_LOG_LEVEL);

static K_THREAD_STACK_DEFINE(g_my_stack_area, MY_STACK_SIZE);

// private context
struct context {
    struct zros_node node;
    synapse_msgs_Odometry external_odometry;
    synapse_msgs_Imu imu;
    synapse_msgs_Odometry odometry;
    struct zros_sub sub_external_odometry, sub_imu;
    struct zros_pub pub_odometry;
    double x[3];
    atomic_t running;
    size_t stack_size;
    k_thread_stack_t* stack_area;
    struct k_thread thread_data;
};

// private initialization
static struct context g_ctx = {
    .node = {},
    .external_odometry = synapse_msgs_Odometry_init_default,
    .imu = synapse_msgs_Imu_init_default,
    .odometry = {
        .child_frame_id = "base_link",
        .has_header = true,
        .header.frame_id = "odom",
        .has_pose = true,
        .has_twist = true,
        .pose.has_pose = true,
        .pose.pose.has_position = true,
        .pose.pose.has_orientation = true,
        .twist.has_twist = true,
        .twist.twist.has_angular = true,
        .twist.twist.has_linear = true,
    },
    .sub_external_odometry = {},
    .sub_imu = {},
    .pub_odometry = {},
    .x = {},
    .running = ATOMIC_INIT(0),
    .stack_size = MY_STACK_SIZE,
    .stack_area = g_my_stack_area,
    .thread_data = {},
};

static void rdd2_estimate_init(struct context* ctx)
{
    LOG_INF("init");
    zros_node_init(&ctx->node, "rdd2_estimate");
    zros_sub_init(&ctx->sub_imu, &ctx->node, &topic_imu, &ctx->imu, 100);
    zros_sub_init(&ctx->sub_external_odometry, &ctx->node, &topic_external_odometry,
        &ctx->external_odometry, 100);
    zros_pub_init(&ctx->pub_odometry, &ctx->node, &topic_estimator_odometry, &ctx->odometry);
    atomic_set(&ctx->running, 1);
}

static void rdd2_estimate_fini(struct context* ctx)
{
    LOG_INF("fini");
    zros_node_fini(&ctx->node);
    zros_sub_fini(&ctx->sub_imu);
    zros_sub_fini(&ctx->sub_external_odometry);
    zros_pub_fini(&ctx->pub_odometry);
    atomic_set(&ctx->running, 0);
}

static void rdd2_estimate_run(void* p0, void* p1, void* p2)
{
    struct context* ctx = p0;
    ARG_UNUSED(p1);
    ARG_UNUSED(p2);

    int rc = 0;

    // LOG_DBG("started");
    rdd2_estimate_init(ctx);

    // variables
    int32_t seq = 0;

    struct k_poll_event events[1] = {};

    // wait for imu
    LOG_DBG("waiting for imu");
    events[0] = *zros_sub_get_event(&ctx->sub_imu);
    rc = k_poll(events, ARRAY_SIZE(events), K_FOREVER);
    if (rc != 0) {
        LOG_DBG("did not receive imu");
        return;
    }
    if (zros_sub_update_available(&ctx->sub_imu)) {
        zros_sub_update(&ctx->sub_imu);
    }

    // wait for external odometry
    LOG_DBG("waiting for external odometry");
    events[0] = *zros_sub_get_event(&ctx->sub_external_odometry);
    rc = k_poll(events, ARRAY_SIZE(events), K_FOREVER);
    if (rc != 0) {
        LOG_DBG("did not receive external odometry");
        return;
    }
    if (zros_sub_update_available(&ctx->sub_external_odometry)) {
        zros_sub_update(&ctx->sub_external_odometry);
    }

    double dt = 0;
    int64_t ticks_last = k_uptime_ticks();

    double x[9] = {};

    // poll on imu
    events[0] = *zros_sub_get_event(&ctx->sub_imu);

    while (atomic_get(&ctx->running)) {

        // poll for imu
        rc = k_poll(events, ARRAY_SIZE(events), K_MSEC(1000));
        if (rc != 0) {
            LOG_DBG("not receiving imu");
            continue;
        }

        if (zros_sub_update_available(&ctx->sub_imu)) {
            zros_sub_update(&ctx->sub_imu);
        }

        if (zros_sub_update_available(&ctx->sub_external_odometry)) {
            zros_sub_update(&ctx->sub_external_odometry);
        }

        // calculate dt
        int64_t ticks_now = k_uptime_ticks();
        dt = (double)(ticks_now - ticks_last) / CONFIG_SYS_CLOCK_TICKS_PER_SEC;
        ticks_last = ticks_now;
        if (dt < 0 || dt > 0.5) {
            LOG_WRN("imu update rate too low");
            continue;
        }

        /* strapdown_ins_propagate:(x0[9],a_b[3],omega_b[3],g,dt)->(x1[9]) */
        CASADI_FUNC_ARGS(strapdown_ins_propagate)
        double x1[9];

        double a_b[3];
        a_b[0] = ctx->imu.linear_acceleration.x;
        a_b[1] = ctx->imu.linear_acceleration.y;
        a_b[2] = ctx->imu.linear_acceleration.z;

        double omega_b[3];
        omega_b[0] = ctx->imu.angular_velocity.x;
        omega_b[1] = ctx->imu.angular_velocity.y;
        omega_b[2] = ctx->imu.angular_velocity.z;

        const double g = 9.8;
        args[0] = x;
        args[1] = a_b;
        args[2] = omega_b;
        args[3] = &g;
        args[4] = &dt;
        res[0] = x1;
        CASADI_FUNC_CALL(strapdown_ins_propagate)
        for (int i = 0; i < 9; i++) {
            x[i] = x1[i];
        }

        // publish odometry
        {
            stamp_header(&ctx->odometry.header, k_uptime_ticks());
            ctx->odometry.header.seq = seq++;

            // state feedback for now
            ctx->odometry.pose.pose.position.x = x[0];
            ctx->odometry.pose.pose.position.y = x[1];
            ctx->odometry.pose.pose.position.z = x[2];
            ctx->odometry.pose.pose.orientation.w = ctx->external_odometry.pose.pose.orientation.w;
            ctx->odometry.pose.pose.orientation.x = ctx->external_odometry.pose.pose.orientation.x;
            ctx->odometry.pose.pose.orientation.y = ctx->external_odometry.pose.pose.orientation.y;
            ctx->odometry.pose.pose.orientation.z = ctx->external_odometry.pose.pose.orientation.z;

            // use gyro
            ctx->odometry.twist.twist.angular.x = omega_b[0];
            ctx->odometry.twist.twist.angular.y = omega_b[1];
            ctx->odometry.twist.twist.angular.z = omega_b[2];

            // ctx->odometry.twist.twist.angular.x = ctx->external_odometry.twist.twist.angular.x;
            // ctx->odometry.twist.twist.angular.y = ctx->external_odometry.twist.twist.angular.y;
            // ctx->odometry.twist.twist.angular.z = ctx->external_odometry.twist.twist.angular.z;

            ctx->odometry.twist.twist.linear.x = x[3];
            ctx->odometry.twist.twist.linear.y = x[4];
            ctx->odometry.twist.twist.linear.z = x[5];
            zros_pub_update(&ctx->pub_odometry);
        }
    }

    rdd2_estimate_fini(ctx);
}

static int start(struct context* ctx)
{
    k_tid_t tid = k_thread_create(&ctx->thread_data, ctx->stack_area,
        ctx->stack_size,
        rdd2_estimate_run,
        ctx, NULL, NULL,
        MY_PRIORITY, 0, K_FOREVER);
    k_thread_name_set(tid, "rdd2_estimate");
    k_thread_start(tid);
    return 0;
}

static int rdd2_estimate_cmd_handler(const struct shell* sh,
    size_t argc, char** argv, void* data)
{
    struct context* ctx = data;
    assert(argc == 1);

    if (strcmp(argv[0], "start") == 0) {
        if (atomic_get(&ctx->running)) {
            shell_print(sh, "already running");
        } else {
            start(ctx);
        }
    } else if (strcmp(argv[0], "stop") == 0) {
        if (atomic_get(&ctx->running)) {
            atomic_set(&ctx->running, 0);
        } else {
            shell_print(sh, "not running");
        }
    } else if (strcmp(argv[0], "status") == 0) {
        shell_print(sh, "running: %d", (int)atomic_get(&ctx->running));
    }
    return 0;
}

SHELL_SUBCMD_DICT_SET_CREATE(sub_rdd2_estimate, rdd2_estimate_cmd_handler,
    (start, &g_ctx, "start"),
    (stop, &g_ctx, "stop"),
    (status, &g_ctx, "status"));

SHELL_CMD_REGISTER(rdd2_estimate, &sub_rdd2_estimate, "rdd2 estimate commands", NULL);

static int rdd2_estimate_sys_init(void)
{
    return start(&g_ctx);
};

SYS_INIT(rdd2_estimate_sys_init, APPLICATION, 1);

// vi: ts=4 sw=4 et
```

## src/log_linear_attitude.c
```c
/*
 * Copyright CogniPilot Foundation 2023
 * SPDX-License-Identifier: Apache-2.0
 */

#include <math.h>

#include <zephyr/logging/log.h>
#include <zephyr/shell/shell.h>

#include <zros/private/zros_node_struct.h>
#include <zros/private/zros_pub_struct.h>
#include <zros/private/zros_sub_struct.h>
#include <zros/zros_node.h>
#include <zros/zros_pub.h>
#include <zros/zros_sub.h>

#include <cerebri/core/casadi.h>
#include <cerebri/core/log_utils.h>

#include <synapse_topic_list.h>

#include "app/rdd2/casadi/rdd2.h"
#include "app/rdd2/casadi/rdd2_loglinear.h"

#define MY_STACK_SIZE 3072
#define MY_PRIORITY   4

CEREBRI_NODE_LOG_INIT(rdd2_attitude, LOG_LEVEL_WRN);

static K_THREAD_STACK_DEFINE(g_my_stack_area, MY_STACK_SIZE);

struct context {
	struct zros_node node;
	synapse_pb_Status status;
	synapse_pb_Odometry odometry_estimator;
	synapse_pb_Quaternion attitude_sp;
	synapse_pb_Vector3 angular_velocity_sp, angular_velocity_ff;
	struct zros_sub sub_status, sub_attitude_sp, sub_odometry_estimator,
		sub_angular_velocity_ff;
	struct zros_pub pub_angular_velocity_sp;
	struct k_sem running;
	size_t stack_size;
	k_thread_stack_t *stack_area;
	struct k_thread thread_data;
};

static struct context g_ctx = {
	.node = {},
	.status = synapse_pb_Status_init_default,
	.attitude_sp = synapse_pb_Quaternion_init_default,
	.angular_velocity_sp = synapse_pb_Vector3_init_default,
	.angular_velocity_ff = synapse_pb_Vector3_init_default,
	.odometry_estimator = synapse_pb_Odometry_init_default,
	.sub_status = {},
	.sub_attitude_sp = {},
	.sub_odometry_estimator = {},
	.pub_angular_velocity_sp = {},
	.running = Z_SEM_INITIALIZER(g_ctx.running, 1, 1),
	.stack_size = MY_STACK_SIZE,
	.stack_area = g_my_stack_area,
	.thread_data = {},
};

static void rdd2_attitude_init(struct context *ctx)
{
	zros_node_init(&ctx->node, "rdd2_attitude");
	zros_sub_init(&ctx->sub_status, &ctx->node, &topic_status, &ctx->status, 10);
	zros_sub_init(&ctx->sub_attitude_sp, &ctx->node, &topic_attitude_sp, &ctx->attitude_sp, 50);
	zros_sub_init(&ctx->sub_odometry_estimator, &ctx->node, &topic_odometry_estimator,
		      &ctx->odometry_estimator, 50);
	zros_sub_init(&ctx->sub_angular_velocity_ff, &ctx->node, &topic_angular_velocity_ff,
		      &ctx->angular_velocity_ff, 50);
	zros_pub_init(&ctx->pub_angular_velocity_sp, &ctx->node, &topic_angular_velocity_sp,
		      &ctx->angular_velocity_sp);
	k_sem_take(&ctx->running, K_FOREVER);
	LOG_INF("init");
}

static void rdd2_attitude_fini(struct context *ctx)
{
	zros_sub_fini(&ctx->sub_status);
	zros_sub_fini(&ctx->sub_attitude_sp);
	zros_sub_fini(&ctx->sub_odometry_estimator);
	zros_sub_fini(&ctx->sub_angular_velocity_ff);
	zros_pub_fini(&ctx->pub_angular_velocity_sp);
	zros_node_fini(&ctx->node);
	k_sem_give(&ctx->running);
	LOG_INF("fini");
}

static void rdd2_attitude_run(void *p0, void *p1, void *p2)
{
	struct context *ctx = p0;
	ARG_UNUSED(p1);
	ARG_UNUSED(p2);

	rdd2_attitude_init(ctx);

	// constants
	static const double kp[3] = {
		CONFIG_CEREBRI_RDD2_ROLL_KP * 1e-6,
		CONFIG_CEREBRI_RDD2_PITCH_KP * 1e-6,
		CONFIG_CEREBRI_RDD2_YAW_KP * 1e-6,
	};

	// wait for attitude setpoint
	struct k_poll_event events[1];
	events[0] = *zros_sub_get_event(&ctx->sub_attitude_sp);
	while (k_sem_take(&ctx->running, K_NO_WAIT) < 0) {
		int rc = 0;
		rc = k_poll(events, ARRAY_SIZE(events), K_MSEC(1000));
		if (rc != 0) {
			LOG_DBG("not receiving attitude_setpoint");
		} else {
			break;
		}
	}

	// poll on odometry from estimator
	events[0] = *zros_sub_get_event(&ctx->sub_odometry_estimator);
	while (k_sem_take(&ctx->running, K_NO_WAIT) < 0) {
		int rc = 0;
		rc = k_poll(events, ARRAY_SIZE(events), K_MSEC(1000));
		if (rc != 0) {
			LOG_DBG("not receiving odometry_estimator");
			continue;
		}

		// update subscriptions
		zros_sub_update(&ctx->sub_status);
		zros_sub_update(&ctx->sub_odometry_estimator);
		zros_sub_update(&ctx->sub_attitude_sp);
		zros_sub_update(&ctx->sub_angular_velocity_ff);

		if (ctx->status.mode != synapse_pb_Status_Mode_MODE_ATTITUDE_RATE) {
			double q_wb[4] = {ctx->odometry_estimator.pose.orientation.w,
					  ctx->odometry_estimator.pose.orientation.x,
					  ctx->odometry_estimator.pose.orientation.y,
					  ctx->odometry_estimator.pose.orientation.z};

			double q_r[4] = {ctx->attitude_sp.w, ctx->attitude_sp.x, ctx->attitude_sp.y,
					 ctx->attitude_sp.z};
			double omega[3];

			{
				// attitude_control:(kp[3],q[4],q_r[4])->(omega[3])
				CASADI_FUNC_ARGS(so3_attitude_control);

				args[0] = kp;
				args[1] = q_wb;
				args[2] = q_r;

				res[0] = omega;

				CASADI_FUNC_CALL(so3_attitude_control);
			}

			// publish
			bool data_ok = true;
			for (int i = 0; i < 3; i++) {
				if (!isfinite(omega[i])) {
					LOG_DBG("omega[0] not finite: %10.4f", omega[i]);
					data_ok = false;
				}
			}

			if (data_ok) {
				stamp_msg(&ctx->angular_velocity_sp.stamp, k_uptime_ticks());
				ctx->angular_velocity_sp.has_stamp = true;
				ctx->angular_velocity_sp.x = omega[0] + ctx->angular_velocity_ff.x;
				ctx->angular_velocity_sp.y = omega[1] + ctx->angular_velocity_ff.y;
				ctx->angular_velocity_sp.z = omega[2] + ctx->angular_velocity_ff.z;
				zros_pub_update(&ctx->pub_angular_velocity_sp);
			}
		}
	}

	rdd2_attitude_fini(ctx);
}

static int start(struct context *ctx)
{
	k_tid_t tid =
		k_thread_create(&ctx->thread_data, ctx->stack_area, ctx->stack_size,
				rdd2_attitude_run, ctx, NULL, NULL, MY_PRIORITY, 0, K_FOREVER);
	k_thread_name_set(tid, "rdd2_attitude");
	k_thread_start(tid);
	return 0;
}

static int rdd2_attitude_cmd_handler(const struct shell *sh, size_t argc, char **argv, void *data)
{
	ARG_UNUSED(argc);
	struct context *ctx = data;

	if (strcmp(argv[0], "start") == 0) {
		if (k_sem_count_get(&g_ctx.running) == 0) {
			shell_print(sh, "already running");
		} else {
			start(ctx);
		}
	} else if (strcmp(argv[0], "stop") == 0) {
		if (k_sem_count_get(&g_ctx.running) == 0) {
			k_sem_give(&g_ctx.running);
		} else {
			shell_print(sh, "not running");
		}
	} else if (strcmp(argv[0], "status") == 0) {
		shell_print(sh, "running: %d", (int)k_sem_count_get(&g_ctx.running) == 0);
	}
	return 0;
}

SHELL_SUBCMD_DICT_SET_CREATE(sub_rdd2_attitude, rdd2_attitude_cmd_handler, (start, &g_ctx, "start"),
			     (stop, &g_ctx, "stop"), (status, &g_ctx, "status"));

SHELL_CMD_REGISTER(rdd2_attitude, &sub_rdd2_attitude, "rdd2 attitude commands", NULL);

static int rdd2_attitude_sys_init(void)
{
	return start(&g_ctx);
};

SYS_INIT(rdd2_attitude_sys_init, APPLICATION, 1);

// vi: ts=4 sw=4 et
```
